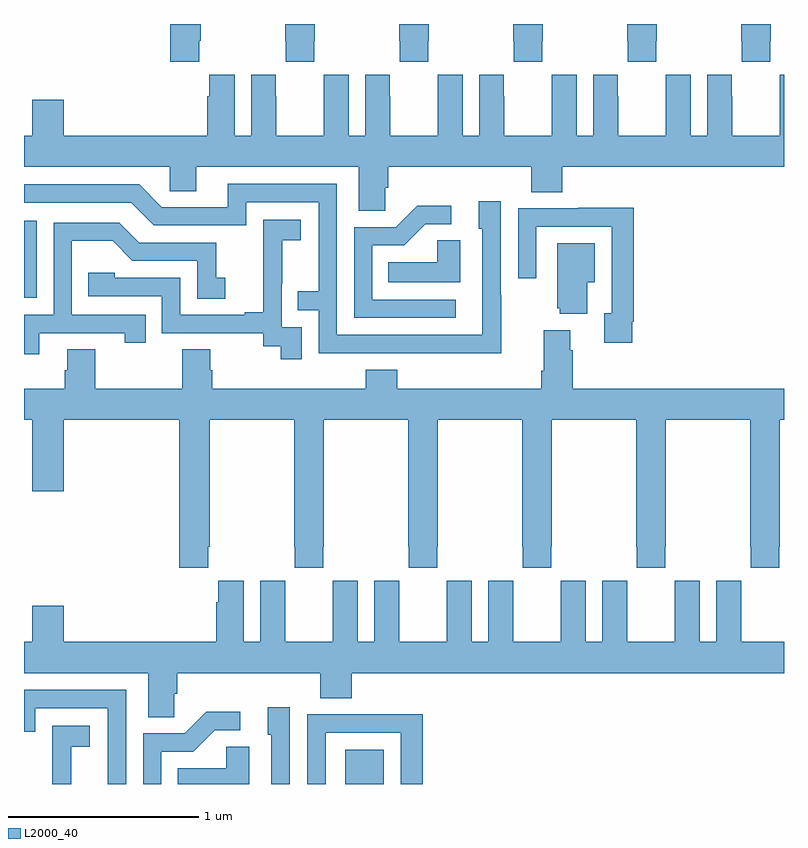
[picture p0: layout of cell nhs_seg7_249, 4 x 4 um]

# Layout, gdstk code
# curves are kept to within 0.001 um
import gdstk
lib = gdstk.Library(unit=1e-6, precision=1e-09)
def R(c, l, rs):  # rectangles x0, y0, x1, y1
    for r in rs: c.add(gdstk.rectangle(r[:2], r[2:], *l))
def P(c, l, *ps):  # polygons
    for p in ps: c.add(gdstk.Polygon(p, *l))
L2000_40 = (2000, 40)

nhs_seg7_249 = lib.new_cell('nhs_seg7_249')
R(nhs_seg7_249, L2000_40, [(130.691,1032,130.894,1032.181), (129,1034.559,129.066,1034.965)])
P(nhs_seg7_249, L2000_40, [(129.923,1035.913),(129.93,1035.913),(129.93,1036),(129.77,1036),(129.77,1035.801),(129.923,1035.801)],
  [(130.527,1035.913),(130.53,1035.913),(130.53,1036),(130.375,1036),(130.375,1035.913),(130.377,1035.913),(130.377,1035.801),(130.527,1035.801)],
  [(131.127,1035.913),(131.13,1035.913),(131.13,1036),(130.975,1036),(130.975,1035.913),(130.977,1035.913),(130.977,1035.801),(131.127,1035.801)],
  [(131.727,1035.913),(131.73,1035.913),(131.73,1036),(131.575,1036),(131.575,1035.913),(131.577,1035.913),(131.577,1035.801),(131.727,1035.801)],
  [(132.327,1035.913),(132.33,1035.913),(132.33,1036),(132.175,1036),(132.175,1035.913),(132.177,1035.913),(132.177,1035.801),(132.327,1035.801)],
  [(132.927,1035.913),(132.93,1035.913),(132.93,1036),(132.775,1036),(132.775,1035.913),(132.777,1035.913),(132.777,1035.801),(132.927,1035.801)],
  [(130.902,1035.139),(130.916,1035.139),(130.916,1035.248),(131.669,1035.248),(131.669,1035.115),(131.834,1035.115),(131.834,1035.248),(133,1035.248),(133,1035.733),(132.978,1035.733),(132.978,1035.62),(132.977,1035.62),(132.977,1035.412),(132.727,1035.412),(132.727,1035.62),(132.726,1035.62),(132.726,1035.733),(132.596,1035.733),(132.596,1035.412),(132.508,1035.412),(132.508,1035.733),(132.378,1035.733),(132.378,1035.62),(132.377,1035.62),(132.377,1035.412),(132.127,1035.412),(132.127,1035.62),(132.126,1035.62),(132.126,1035.733),(131.996,1035.733),(131.996,1035.412),(131.908,1035.412),(131.908,1035.733),(131.778,1035.733),(131.778,1035.62),(131.777,1035.62),(131.777,1035.412),(131.527,1035.412),(131.527,1035.62),(131.526,1035.62),(131.526,1035.733),(131.396,1035.733),(131.396,1035.412),(131.308,1035.412),(131.308,1035.733),(131.178,1035.733),(131.178,1035.62),(131.177,1035.62),(131.177,1035.412),(130.927,1035.412),(130.927,1035.62),(130.926,1035.62),(130.926,1035.733),(130.796,1035.733),(130.796,1035.412),(130.708,1035.412),(130.708,1035.733),(130.578,1035.733),(130.578,1035.62),(130.577,1035.62),(130.577,1035.412),(130.327,1035.412),(130.327,1035.62),(130.326,1035.62),(130.326,1035.733),(130.196,1035.733),(130.196,1035.412),(130.108,1035.412),(130.108,1035.733),(129.974,1035.733),(129.974,1035.62),(129.965,1035.62),(129.965,1035.412),(129.208,1035.412),(129.208,1035.601),(129.044,1035.601),(129.044,1035.412),(129,1035.412),(129,1035.248),(129.768,1035.248),(129.768,1035.121),(129.907,1035.121),(129.907,1035.248),(130.763,1035.248),(130.763,1035.016),(130.902,1035.016)],
  [(131.511,1034.573),(131.508,1034.573),(131.508,1035.067),(131.393,1035.067),(131.393,1034.922),(131.412,1034.922),(131.412,1034.364),(130.647,1034.364),(130.647,1035.159),(130.073,1035.159),(130.073,1035.036),(129.726,1035.036),(129.606,1035.156),(129,1035.156),(129,1035.06),(129.564,1035.06),(129.684,1034.94),(130.17,1034.94),(130.17,1035.063),(130.551,1035.063),(130.551,1034.594),(130.441,1034.594),(130.441,1034.493),(130.551,1034.493),(130.551,1034.268),(131.511,1034.267)],
  [(131.272,1034.55),(130.833,1034.55),(130.833,1034.835),(131.002,1034.835),(131.113,1034.946),(131.248,1034.946),(131.248,1035.044),(131.069,1035.044),(130.956,1034.931),(130.737,1034.931),(130.737,1034.454),(131.272,1034.454)],
  [(132.202,1034.434),(132.209,1034.434),(132.209,1035.032),(131.917,1035.032),(131.917,1035.03),(131.601,1035.03),(131.601,1034.661),(131.697,1034.661),(131.697,1034.934),(132.093,1034.934),(132.093,1034.478),(132.053,1034.478),(132.053,1034.322),(132.202,1034.322)],
  [(130.461,1034.403),(130.356,1034.403),(130.356,1034.632),(130.358,1034.632),(130.358,1034.861),(130.456,1034.861),(130.456,1034.971),(130.258,1034.971),(130.258,1034.765),(130.259,1034.765),(130.259,1034.482),(130.163,1034.482),(130.163,1034.469),(129.822,1034.469),(129.822,1034.664),(129.477,1034.664),(129.477,1034.691),(129.337,1034.691),(129.337,1034.568),(129.726,1034.568),(129.726,1034.373),(130.26,1034.373),(130.26,1034.305),(130.352,1034.305),(130.352,1034.235),(130.461,1034.235)],
  [(129.079,1034.373),(129.53,1034.373),(129.53,1034.322),(129.641,1034.322),(129.641,1034.469),(129.252,1034.469),(129.252,1034.858),(129.466,1034.858),(129.57,1034.754),(129.912,1034.754),(129.912,1034.555),(130.06,1034.555),(130.06,1034.665),(130.011,1034.665),(130.011,1034.85),(129.607,1034.85),(129.502,1034.955),(129.156,1034.955),(129.156,1034.469),(129,1034.469),(129,1034.262),(129.079,1034.262)],
  [(131.296,1034.861),(131.175,1034.861),(131.175,1034.746),(130.918,1034.746),(130.918,1034.642),(131.296,1034.642)],
  [(131.965,1034.642),(132.004,1034.642),(132.004,1034.845),(131.807,1034.845),(131.807,1034.505),(131.819,1034.505),(131.819,1034.474),(131.965,1034.474)],
  [(130.964,1034.179),(130.799,1034.179),(130.799,1034.08),(129.992,1034.08),(129.992,1034.178),(129.979,1034.178),(129.979,1034.288),(129.832,1034.288),(129.832,1034.08),(129.375,1034.08),(129.375,1034.288),(129.227,1034.288),(129.227,1034.178),(129.215,1034.178),(129.215,1034.08),(129,1034.08),(129,1033.916),(129.044,1033.916),(129.044,1033.542),(129.208,1033.542),(129.208,1033.916),(129.818,1033.916),(129.818,1033.137),(129.971,1033.137),(129.971,1033.249),(129.977,1033.249),(129.977,1033.916),(130.423,1033.916),(130.423,1033.249),(130.425,1033.249),(130.425,1033.137),(130.575,1033.137),(130.575,1033.249),(130.578,1033.249),(130.578,1033.916),(131.023,1033.916),(131.023,1033.249),(131.025,1033.249),(131.025,1033.137),(131.175,1033.137),(131.175,1033.249),(131.178,1033.249),(131.178,1033.916),(131.623,1033.916),(131.623,1033.249),(131.625,1033.249),(131.625,1033.137),(131.775,1033.137),(131.775,1033.249),(131.778,1033.249),(131.778,1033.916),(132.223,1033.916),(132.223,1033.249),(132.225,1033.249),(132.225,1033.137),(132.375,1033.137),(132.375,1033.249),(132.378,1033.249),(132.378,1033.916),(132.823,1033.916),(132.823,1033.249),(132.825,1033.249),(132.825,1033.137),(132.975,1033.137),(132.975,1033.249),(132.978,1033.249),(132.978,1033.916),(133,1033.916),(133,1034.08),(131.888,1034.08),(131.888,1034.282),(131.875,1034.282),(131.875,1034.389),(131.735,1034.389),(131.735,1034.176),(131.723,1034.176),(131.723,1034.08),(130.964,1034.08)],
  [(129.792,1032.475),(129.806,1032.475),(129.806,1032.584),(130.559,1032.584),(130.559,1032.451),(130.724,1032.451),(130.724,1032.584),(133,1032.584),(133,1032.748),(132.775,1032.748),(132.775,1032.956),(132.774,1032.956),(132.774,1033.069),(132.644,1033.069),(132.644,1032.748),(132.556,1032.748),(132.556,1033.069),(132.426,1033.069),(132.426,1032.956),(132.425,1032.956),(132.425,1032.748),(132.175,1032.748),(132.175,1032.956),(132.174,1032.956),(132.174,1033.069),(132.044,1033.069),(132.044,1032.748),(131.956,1032.748),(131.956,1033.069),(131.826,1033.069),(131.826,1032.956),(131.825,1032.956),(131.825,1032.748),(131.575,1032.748),(131.575,1032.956),(131.574,1032.956),(131.574,1033.069),(131.444,1033.069),(131.444,1032.748),(131.356,1032.748),(131.356,1033.069),(131.226,1033.069),(131.226,1032.956),(131.225,1032.956),(131.225,1032.748),(130.975,1032.748),(130.975,1032.956),(130.974,1032.956),(130.974,1033.069),(130.844,1033.069),(130.844,1032.748),(130.756,1032.748),(130.756,1033.069),(130.626,1033.069),(130.626,1032.956),(130.625,1032.956),(130.625,1032.748),(130.375,1032.748),(130.375,1032.956),(130.374,1032.956),(130.374,1033.069),(130.244,1033.069),(130.244,1032.748),(130.156,1032.748),(130.156,1033.069),(130.022,1033.069),(130.022,1032.956),(130.013,1032.956),(130.013,1032.748),(129.208,1032.748),(129.208,1032.937),(129.044,1032.937),(129.044,1032.748),(129,1032.748),(129,1032.584),(129.653,1032.584),(129.653,1032.352),(129.792,1032.352)],
  [(129.537,1032.495),(129,1032.495),(129,1032.276),(129.06,1032.276),(129.06,1032.399),(129.441,1032.399),(129.441,1032),(129.537,1032)],
  [(130.398,1032.403),(130.283,1032.403),(130.283,1032.258),(130.302,1032.258),(130.302,1032),(130.398,1032)],
  [(129.723,1032.171),(129.892,1032.171),(130.003,1032.282),(130.138,1032.282),(130.138,1032.38),(129.959,1032.38),(129.846,1032.267),(129.627,1032.267),(129.627,1032),(129.723,1032)],
  [(130.587,1032.27),(130.983,1032.27),(130.983,1032),(131.099,1032),(131.099,1032.368),(130.807,1032.368),(130.807,1032.366),(130.491,1032.366),(130.491,1032),(130.587,1032)],
  [(129.248,1032.197),(129.346,1032.197),(129.346,1032.307),(129.148,1032.307),(129.148,1032.101),(129.149,1032.101),(129.149,1032),(129.248,1032)],
  [(130.186,1032.197),(130.065,1032.197),(130.065,1032.082),(129.808,1032.082),(129.808,1032),(130.186,1032)])

lib.write_gds('nhs_seg7_249.gds')
